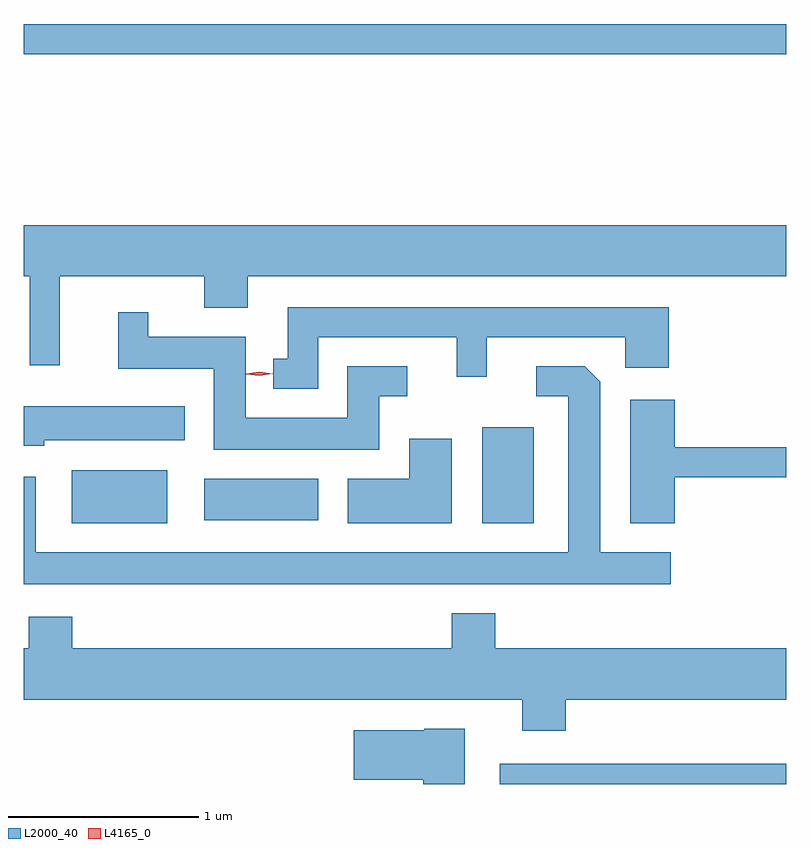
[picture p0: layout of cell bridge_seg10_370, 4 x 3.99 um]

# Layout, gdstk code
import gdstk
lib = gdstk.Library(unit=1e-6, precision=1e-09)
def R(c, l, rs):  # rectangles x0, y0, x1, y1
    for r in rs: c.add(gdstk.rectangle(r[:2], r[2:], *l))
def P(c, l, *ps):  # polygons
    for p in ps: c.add(gdstk.Polygon(p, *l))
L2000_40 = (2000, 40)
L4165_0 = (4165, 0)

bridge_seg10_370 = lib.new_cell('bridge_seg10_370')
R(bridge_seg10_370, L2000_40, [(1103.691,2089.053,1105.195,2089.159), (1101.446,2090.421,1101.949,2090.699), (1103.601,2090.421,1103.869,2090.924), (1102.141,2090.436,1102.739,2090.654), (1101.195,2092.881,1105.195,2093.039)])
P(bridge_seg10_370, L2000_40, [(1101.384,2091.716),(1102.141,2091.716),(1102.141,2091.551),(1102.369,2091.551),(1102.369,2091.716),(1105.195,2091.716),(1105.195,2091.984),(1101.195,2091.984),(1101.195,2091.716),(1101.226,2091.716),(1101.226,2091.248),(1101.384,2091.248)],
  [(1102.739,2091.396),(1103.466,2091.396),(1103.466,2091.188),(1103.624,2091.188),(1103.624,2091.396),(1104.351,2091.396),(1104.351,2091.236),(1104.579,2091.236),(1104.579,2091.554),(1102.581,2091.554),(1102.581,2091.284),(1102.503,2091.284),(1102.503,2091.126),(1102.739,2091.126)],
  [(1103.059,2091.086),(1103.208,2091.086),(1103.208,2091.244),(1102.891,2091.244),(1102.891,2090.974),(1102.359,2090.974),(1102.359,2091.399),(1101.849,2091.399),(1101.849,2091.528),(1101.691,2091.528),(1101.691,2091.231),(1102.191,2091.231),(1102.191,2090.806),(1103.059,2090.806)],
  [(1104.588,2090.269),(1104.219,2090.269),(1104.219,2091.164),(1104.139,2091.244),(1103.883,2091.244),(1103.883,2091.086),(1104.051,2091.086),(1104.051,2090.269),(1101.259,2090.269),(1101.259,2090.664),(1101.195,2090.664),(1101.195,2090.101),(1104.588,2090.101)],
  [(1104.609,2090.661),(1105.195,2090.661),(1105.195,2090.819),(1104.609,2090.819),(1104.609,2091.069),(1104.376,2091.069),(1104.376,2090.421),(1104.609,2090.421)],
  [(1101.304,2090.856),(1102.039,2090.856),(1102.039,2091.034),(1101.195,2091.034),(1101.195,2090.826),(1101.304,2090.826)],
  [(1103.439,2090.864),(1103.216,2090.864),(1103.216,2090.654),(1102.896,2090.654),(1102.896,2090.421),(1103.439,2090.421)],
  [(1104.039,2089.496),(1105.195,2089.496),(1105.195,2089.764),(1103.669,2089.764),(1103.669,2089.949),(1103.441,2089.949),(1103.441,2089.764),(1101.449,2089.764),(1101.449,2089.929),(1101.221,2089.929),(1101.221,2089.764),(1101.195,2089.764),(1101.195,2089.496),(1103.811,2089.496),(1103.811,2089.331),(1104.039,2089.331)],
  [(1103.509,2089.344),(1103.295,2089.344),(1103.295,2089.334),(1102.926,2089.334),(1102.926,2089.076),(1103.291,2089.076),(1103.291,2089.053),(1103.509,2089.053)])
P(bridge_seg10_370, L4165_0, [(1102.431,2091.194),(1102.362,2091.203),(1102.362,2091.204),(1102.362,2091.204),(1102.431,2091.214),(1102.501,2091.205),(1102.501,2091.205),(1102.501,2091.204)])

lib.write_gds('bridge_seg10_370.gds')
